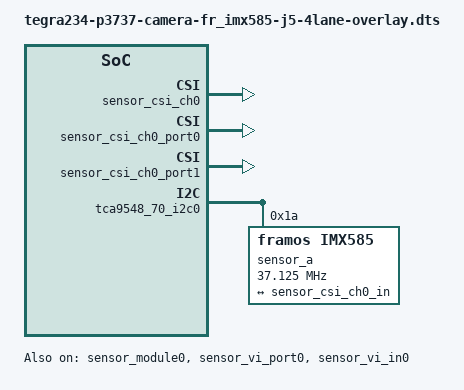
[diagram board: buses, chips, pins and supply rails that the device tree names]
// SPDX-License-Identifier: GPL-2.0
/*
 * Copyright (c) 2024 Framos. All rights reserved.
 *
 * tegra234-p3737-camera-fr_imx585-j5-4lane-overlay.dts - IMX585 sensor device tree
 */

/dts-v1/;
/plugin/;

#include <dt-bindings/clock/tegra234-clock.h>
#include <dt-bindings/gpio/tegra234-gpio.h>
#include <dt-bindings/tegra234-p3737-0000+p3701-0000.h>


/ {
	overlay-name = "Framos IMX585-J5-4Lane";
	jetson-header-name = "Jetson AGX CSI Connector";
	compatible = JETSON_COMPATIBLE;

	fragment@0 {
		target = <&sensor_module0>;
		__overlay__ {
			status = "okay";
			badge = "imx585_bottomleft_framos";
			drivernode0 {
				status = "okay";
				/* Declare PCL support driver (classically known as guid) */
				devname = "imx585 9-001a";
				/* Declare the device-tree hierarchy to driver instance */
				sysfs-device-tree = "/sys/firmware/devicetree/base/bus@0/i2c@3180000/tca9548@70/i2c@0/imx585_a@1a";
			};
		};
	};

	fragment@1 {
		target = <&sensor_vi_port0>;
		__overlay__ {
			status = "okay";
		};
	};

	fragment@2 {
		target = <&sensor_vi_in0>;
		__overlay__ {
			status = "okay";
			bus-width = <4>;
		};
	};

	fragment@3 {
		target = <&sensor_csi_ch0>;
		__overlay__ {
			status = "okay";
			ports {
				status = "okay";
			};
		};
	};

	fragment@4 {
		target = <&sensor_csi_ch0_port0>;
		__overlay__ {
			status = "okay";
		};
	};

	fragment@5 {
		target = <&sensor_csi_ch0_in>;
		__overlay__ {
			status = "okay";
			bus-width = <4>;
			remote-endpoint = <&sensor_out_a>;
		};
	};

	fragment@6 {
		target = <&sensor_csi_ch0_port1>;
		__overlay__ {
			status = "okay";
		};
	};

	fragment@7 {
		target = <&sensor_csi_ch0_out>;
		__overlay__ {
			status = "okay";
		};
	};

	fragment@8 {
		target = <&tca9548_70_i2c0>;
		__overlay__ {
			sensor_a: imx585_a@1a {
				compatible = "framos,imx585";
				reg = <0x1a>;

				/* Define any required hw resources needed by driver */
				/* ie. clocks, io pins, power sources */
				clocks = <&bpmp TEGRA234_CLK_EXTPERIPH1>, <&bpmp TEGRA234_CLK_EXTPERIPH1>;
				clock-names = "extperiph1", "pllp_grtba";
				mclk = "extperiph1";
				clock-frequency = <37125000>;

				devnode = "video0";

				physical_w = "20.00";
				physical_h = "16.80";

				sensor_model ="imx585";

				/* Defines number of frames to be dropped by driver internally after applying */
				/* sensor crop settings. Some sensors send corrupt frames after applying */
				/* crop co-ordinates */
				post_crop_frame_drop = "0";

				/* Convert Gain to unit of dB (decibel) befor passing to kernel driver */
				use_decibel_gain = "true";

				/* if true, delay gain setting by one frame to be in sync with exposure */
				delayed_gain = "false";

				/* enable CID_SENSOR_MODE_ID for sensor modes selection */
				use_sensor_mode_id = "false";

				mode0 {
					mclk_khz = "37125";
					num_lanes = "4";
					tegra_sinterface = "serial_a";
					vc_id = "0";
					phy_mode = "DPHY";
					discontinuous_clk = "no";
					dpcm_enable = "false";
					cil_settletime = "0";
					active_w = "3856";
					active_h = "2180";

					dynamic_pixel_bit_depth = "12";
					csi_pixel_bit_depth = "12";
					mode_type = "bayer";
					pixel_phase = "rggb";

					readout_orientation = "0";
					line_length = "6600";
					inherent_gain = "1";
					pix_clk_hz = "950400000";
					serdes_pix_clk_hz = "12000000000"; /* GMSL predefine */

					gain_factor = "10";
					min_gain_val = "0"; /* 0dB */
					max_gain_val = "720"; /* 72dB */
					step_gain_val = "3"; /* 0.3 */
					default_gain = "0";
					min_hdr_ratio = "1";
					max_hdr_ratio = "64";
					framerate_factor = "1000000";
					min_framerate = "1500000"; /* 1.5 */
					max_framerate = "60000000"; /* 60 */
					step_framerate = "1";
					default_framerate= "60000000";
					exposure_factor = "1000000";
					min_exp_time = "27"; /* us */
					max_exp_time = "660000"; /* us */
					step_exp_time = "1";
					default_exp_time = "10000";/* us */
					embedded_metadata_height = "0";
				};
				mode1 {
					mclk_khz = "37125";
					num_lanes = "4";
					tegra_sinterface = "serial_a";
					vc_id = "0";
					phy_mode = "DPHY";
					discontinuous_clk = "no";
					dpcm_enable = "false";
					cil_settletime = "0";
					active_w = "1920";
					active_h = "1080";

					dynamic_pixel_bit_depth = "12";
					csi_pixel_bit_depth = "12";
					mode_type = "bayer";
					pixel_phase = "rggb";

					readout_orientation = "0";
					line_length = "6600";
					inherent_gain = "1";
					pix_clk_hz = "950400000";
					serdes_pix_clk_hz = "12000000000"; /* GMSL predefine */

					gain_factor = "10";
					min_gain_val = "0"; /* 0dB */
					max_gain_val = "720"; /* 72dB */
					step_gain_val = "3"; /* 0.3 */
					default_gain = "0";
					min_hdr_ratio = "1";
					max_hdr_ratio = "64";
					framerate_factor = "1000000";
					min_framerate = "1500000"; /* 1.5 */
					max_framerate = "117000000"; /* 117 */
					step_framerate = "1";
					default_framerate= "117000000";
					exposure_factor = "1000000";
					min_exp_time = "27"; /* us */
					max_exp_time = "660000"; /* us */
					step_exp_time = "1";
					default_exp_time = "10000";/* us */
					embedded_metadata_height = "0";
				};
				mode2 {
					mclk_khz = "37125";
					num_lanes = "4";
					tegra_sinterface = "serial_a";
					vc_id = "0";
					phy_mode = "DPHY";
					discontinuous_clk = "no";
					dpcm_enable = "false";
					cil_settletime = "0";
					active_w = "1928";
					active_h = "1090";

					dynamic_pixel_bit_depth = "12";
					csi_pixel_bit_depth = "12";
					mode_type = "bayer";
					pixel_phase = "rggb";

					readout_orientation = "0";
					line_length = "6600";
					inherent_gain = "1";
					pix_clk_hz = "950400000";
					serdes_pix_clk_hz = "12000000000"; /* GMSL predefine */

					gain_factor = "10";
					min_gain_val = "0"; /* 0dB */
					max_gain_val = "720"; /* 72dB */
					step_gain_val = "3"; /* 0.3 */
					default_gain = "0";
					min_hdr_ratio = "1";
					max_hdr_ratio = "64";
					framerate_factor = "1000000";
					min_framerate = "1500000"; /* 1.5 */
					max_framerate = "60000000"; /* 60 */
					step_framerate = "1";
					default_framerate= "60000000";
					exposure_factor = "1000000";
					min_exp_time = "27"; /* us */
					max_exp_time = "660000"; /* us */
					step_exp_time = "1";
					default_exp_time = "10000";/* us */
					embedded_metadata_height = "0";
				};
				mode3 {
					mclk_khz = "37125";
					num_lanes = "4";
					tegra_sinterface = "serial_a";
					vc_id = "0";
					phy_mode = "DPHY";
					discontinuous_clk = "no";
					dpcm_enable = "false";
					cil_settletime = "0";
					active_w = "3856";
					active_h = "2180";

					dynamic_pixel_bit_depth = "16";
					csi_pixel_bit_depth = "12";
					mode_type = "bayer_wdr_pwl";
					pixel_phase = "rggb";

					readout_orientation = "0";
					line_length = "6600";
					inherent_gain = "1";
					pix_clk_hz = "950400000";
					serdes_pix_clk_hz = "12000000000"; /* GMSL predefine */

					gain_factor = "10";
					min_gain_val = "0"; /* 0dB */
					max_gain_val = "720"; /* 72dB */
					step_gain_val = "3"; /* 0.3 */
					default_gain = "0";
					min_hdr_ratio = "1";
					max_hdr_ratio = "64";
					framerate_factor = "1000000";
					min_framerate = "1500000"; /* 1.5 */
					max_framerate = "30000000"; /* 30 */
					step_framerate = "1";
					default_framerate= "30000000";
					exposure_factor = "1000000";
					min_exp_time = "27"; /* us */
					max_exp_time = "660000"; /* us */
					step_exp_time = "1";
					default_exp_time = "10000";/* us */
					embedded_metadata_height = "0";

					num_control_point = "4";
					control_point_x_0 = "0";
					control_point_x_1 = "2048";
					control_point_x_2 = "16384";
					control_point_x_3 = "65535";
					control_point_y_0 = "0";
					control_point_y_1 = "2048";
					control_point_y_2 = "2944";
					control_point_y_3 = "3712";
				};
				mode4 {
					mclk_khz = "37125";
					num_lanes = "4";
					tegra_sinterface = "serial_a";
					vc_id = "0";
					phy_mode = "DPHY";
					discontinuous_clk = "no";
					dpcm_enable = "false";
					cil_settletime = "0";
					active_w = "3856";
					active_h = "2180";

					dynamic_pixel_bit_depth = "10";
					csi_pixel_bit_depth = "10";
					mode_type = "bayer";
					pixel_phase = "rggb";

					readout_orientation = "0";
					line_length = "6600";
					inherent_gain = "1";
					pix_clk_hz = "950400000";
					serdes_pix_clk_hz = "12000000000"; /* GMSL predefine */

					gain_factor = "10";
					min_gain_val = "0"; /* 0dB */
					max_gain_val = "720"; /* 72dB */
					step_gain_val = "3"; /* 0.3 */
					default_gain = "0";
					min_hdr_ratio = "1";
					max_hdr_ratio = "64";
					framerate_factor = "1000000";
					min_framerate = "1500000"; /* 1.5 */
					max_framerate = "90000000"; /* 90 */
					step_framerate = "1";
					default_framerate= "90000000";
					exposure_factor = "1000000";
					min_exp_time = "27"; /* us */
					max_exp_time = "660000"; /* us */
					step_exp_time = "1";
					default_exp_time = "10000";/* us */
					embedded_metadata_height = "0";
				};
				mode5 {
					mclk_khz = "37125";
					num_lanes = "4";
					tegra_sinterface = "serial_a";
					vc_id = "0";
					phy_mode = "DPHY";
					discontinuous_clk = "no";
					dpcm_enable = "false";
					cil_settletime = "0";
					active_w = "1920";
					active_h = "1080";

					dynamic_pixel_bit_depth = "10";
					csi_pixel_bit_depth = "10";
					mode_type = "bayer";
					pixel_phase = "rggb";

					readout_orientation = "0";
					line_length = "6600";
					inherent_gain = "1";
					pix_clk_hz = "950400000";
					serdes_pix_clk_hz = "12000000000"; /* GMSL predefine */

					gain_factor = "10";
					min_gain_val = "0"; /* 0dB */
					max_gain_val = "720"; /* 72dB */
					step_gain_val = "3"; /* 0.3 */
					default_gain = "0";
					min_hdr_ratio = "1";
					max_hdr_ratio = "64";
					framerate_factor = "1000000";
					min_framerate = "1500000"; /* 1.5 */
					max_framerate = "176000000"; /* 176 */
					step_framerate = "1";
					default_framerate= "176000000";
					exposure_factor = "1000000";
					min_exp_time = "27"; /* us */
					max_exp_time = "660000"; /* us */
					step_exp_time = "1";
					default_exp_time = "10000";/* us */
					embedded_metadata_height = "0";
				};
				mode6 {
					mclk_khz = "37125";
					num_lanes = "4";
					tegra_sinterface = "serial_a";
					phy_mode = "DPHY";
					discontinuous_clk = "no";
					dpcm_enable = "false";
					cil_settletime = "0";
					active_w = "3856";
					active_h = "2180";

					dynamic_pixel_bit_depth = "14";
					csi_pixel_bit_depth = "10";
					mode_type = "bayer_wdr_pwl";
					pixel_phase = "rggb";

					readout_orientation = "0";
					line_length = "6600";
					inherent_gain = "1";
					pix_clk_hz = "950400000";
					serdes_pix_clk_hz = "12000000000"; /* GMSL predefine */

					gain_factor = "10";
					min_gain_val = "0"; /* 0dB */
					max_gain_val = "720"; /* 72dB */
					step_gain_val = "3"; /* 0.3 */
					default_gain = "0";
					min_hdr_ratio = "1";
					max_hdr_ratio = "64";
					framerate_factor = "1000000";
					min_framerate = "1500000"; /* 1.5 */
					max_framerate = "30000000"; /* 30 */
					step_framerate = "1";
					default_framerate= "30000000";
					exposure_factor = "1000000";
					min_exp_time = "27"; /* us */
					max_exp_time = "660000"; /* us */
					step_exp_time = "1";
					default_exp_time = "10000";/* us */
					embedded_metadata_height = "0";


					num_control_point = "4";
					control_point_x_0 = "0";
					control_point_x_1 = "512";
					control_point_x_2 = "4096";
					control_point_x_3 = "16384";
					control_point_y_0 = "0";
					control_point_y_1 = "512";
					control_point_y_2 = "736";
					control_point_y_3 = "928";

				};
				ports {
					#address-cells = <1>;
					#size-cells = <0>;
					port@0 {
						reg = <0>;
						sensor_out_a: endpoint {
						vc-id = <0>;
						port-index = <0>;
						bus-width = <4>;
						remote-endpoint = <&sensor_csi_ch0_in>;
						};
					};
				};
			};
		};
	};

};
